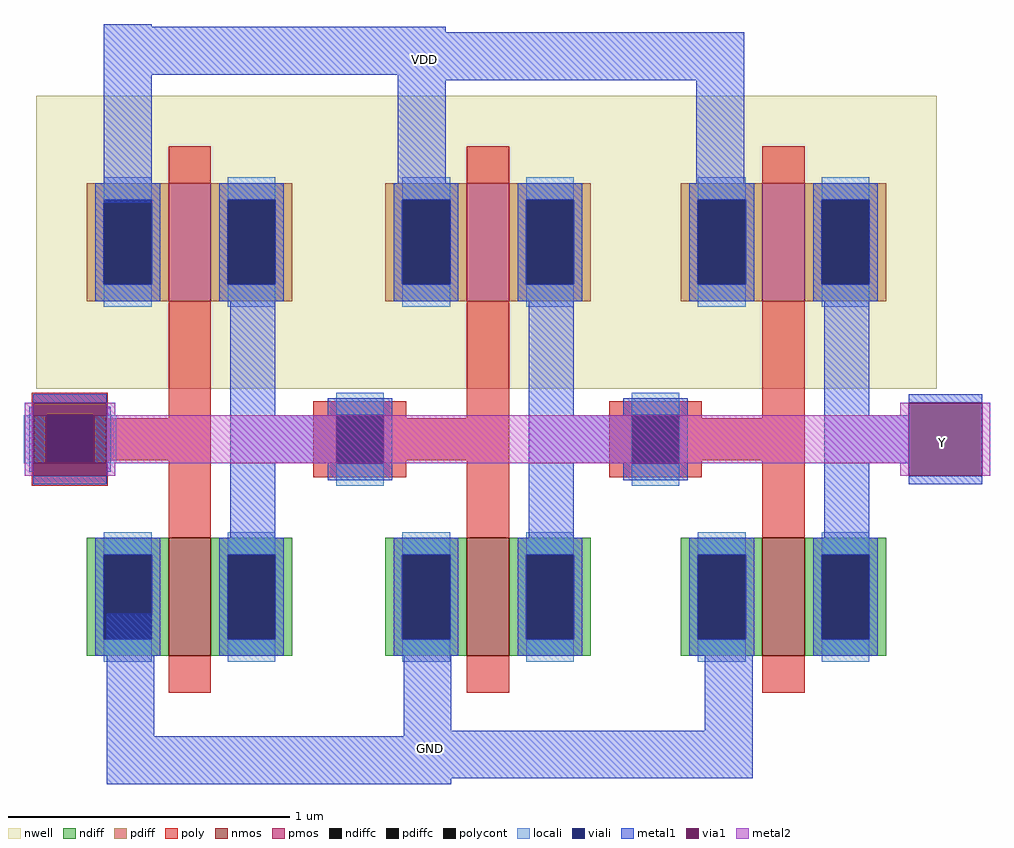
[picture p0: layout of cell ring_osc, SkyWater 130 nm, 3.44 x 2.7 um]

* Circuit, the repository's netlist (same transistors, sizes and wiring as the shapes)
.subckt ring_osc Y vdd gnd
XM1 net1 Y vdd vdd sky130_fd_pr__pfet_01v8 L=150e-9 W=420e-9 nf=2
XM2 net1 Y gnd gnd sky130_fd_pr__nfet_01v8 L=150e-9 W=420e-9 nf=2
XM3 net2 net1 vdd vdd sky130_fd_pr__pfet_01v8 L=150e-9 W=420e-9 nf=2
XM4 net2 net1 gnd gnd sky130_fd_pr__nfet_01v8 L=150e-9 W=420e-9 nf=2
XM5 Y net2 vdd vdd sky130_fd_pr__pfet_01v8 L=150e-9 W=420e-9 nf=2
XM6 Y net2 gnd gnd sky130_fd_pr__nfet_01v8 L=150e-9 W=420e-9 nf=2
.ends

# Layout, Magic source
magic
tech sky130A
magscale 1 2
<< nwell >>
rect 188 178 616 386
<< nmos >>
rect 282 -12 312 72
rect 492 -12 522 72
<< pmos >>
rect 282 240 312 324
rect 492 240 522 324
<< ndiff >>
rect 224 60 282 72
rect 224 0 236 60
rect 270 0 282 60
rect 224 -12 282 0
rect 312 60 370 72
rect 312 0 324 60
rect 358 0 370 60
rect 312 -12 370 0
rect 434 60 492 72
rect 434 0 446 60
rect 480 0 492 60
rect 434 -12 492 0
rect 522 60 580 72
rect 522 0 534 60
rect 568 0 580 60
rect 522 -12 580 0
<< pdiff >>
rect 224 312 282 324
rect 224 252 236 312
rect 270 252 282 312
rect 224 240 282 252
rect 312 312 370 324
rect 312 252 324 312
rect 358 252 370 312
rect 312 240 370 252
rect 434 312 492 324
rect 434 252 446 312
rect 480 252 492 312
rect 434 240 492 252
rect 522 312 580 324
rect 522 252 534 312
rect 568 252 580 312
rect 522 240 580 252
<< ndiffc >>
rect 236 0 270 60
rect 324 0 358 60
rect 446 0 480 60
rect 534 0 568 60
<< pdiffc >>
rect 236 252 270 312
rect 324 252 358 312
rect 446 252 480 312
rect 534 252 568 312
<< poly >>
rect 282 324 312 350
rect 492 324 522 350
rect -27 159 27 175
rect -27 125 -17 159
rect 17 157 27 159
rect 70 157 100 237
rect 17 127 100 157
rect 17 125 27 127
rect -27 109 27 125
rect 70 80 100 127
rect 173 159 239 169
rect 173 125 189 159
rect 223 157 239 159
rect 282 157 312 240
rect 223 127 312 157
rect 223 125 239 127
rect 173 115 239 125
rect 282 72 312 127
rect 383 159 449 169
rect 383 125 399 159
rect 433 157 449 159
rect 492 157 522 240
rect 433 127 522 157
rect 433 125 449 127
rect 383 115 449 125
rect 492 72 522 127
rect 282 -38 312 -12
rect 492 -38 522 -12
<< polycont >>
rect -17 125 17 159
rect 189 125 223 159
rect 399 125 433 159
<< locali >>
rect 236 312 270 328
rect 236 236 270 252
rect 324 312 358 328
rect 324 236 358 252
rect 446 312 480 328
rect 446 236 480 252
rect 534 312 568 328
rect 534 236 568 252
rect 189 159 223 175
rect -33 125 -17 159
rect 17 125 33 159
rect 189 109 223 125
rect 399 159 433 175
rect 399 109 433 125
rect 236 60 270 76
rect 236 -16 270 0
rect 324 60 358 76
rect 324 -16 358 0
rect 446 60 480 76
rect 446 -16 480 0
rect 534 60 568 76
rect 534 -16 568 0
<< viali >>
rect 236 252 270 312
rect 324 252 358 312
rect 446 252 480 312
rect 534 252 568 312
rect -17 125 17 159
rect 189 125 223 159
rect 399 125 433 159
rect 236 0 270 60
rect 324 0 358 60
rect 446 0 480 60
rect 534 0 568 60
<< metal1 >>
rect 24 435 58 437
rect 24 431 267 435
rect 24 401 479 431
rect 24 310 58 401
rect 233 397 479 401
rect 233 324 267 397
rect 445 324 479 397
rect 230 312 276 324
rect 230 252 236 312
rect 270 252 276 312
rect -26 168 26 174
rect -29 119 -26 165
rect 26 119 29 165
rect 114 159 146 252
rect 230 240 276 252
rect 318 312 364 324
rect 318 252 324 312
rect 358 252 364 312
rect 318 240 364 252
rect 440 312 486 324
rect 440 252 446 312
rect 480 252 486 312
rect 440 240 486 252
rect 528 312 574 324
rect 528 252 534 312
rect 568 252 574 312
rect 528 240 574 252
rect 183 159 229 171
rect 114 125 189 159
rect 223 125 229 159
rect -26 110 26 116
rect 114 66 146 125
rect 183 113 229 125
rect 326 159 358 240
rect 393 159 439 171
rect 326 125 399 159
rect 433 125 439 159
rect 326 72 358 125
rect 393 113 439 125
rect 536 159 568 240
rect 596 168 648 174
rect 536 125 596 159
rect 536 72 568 125
rect 596 110 648 116
rect 230 60 276 72
rect 26 -69 60 18
rect 230 0 236 60
rect 270 0 276 60
rect 230 -12 276 0
rect 318 60 364 72
rect 318 0 324 60
rect 358 0 364 60
rect 318 -12 364 0
rect 440 60 486 72
rect 440 0 446 60
rect 480 0 486 60
rect 440 -12 486 0
rect 528 60 574 72
rect 528 0 534 60
rect 568 0 574 60
rect 528 -12 574 0
rect 237 -65 271 -12
rect 451 -65 485 -12
rect 237 -69 485 -65
rect 26 -99 485 -69
rect 26 -103 271 -99
<< via1 >>
rect -26 159 26 168
rect -26 125 -17 159
rect -17 125 17 159
rect 17 125 26 159
rect -26 116 26 125
rect 596 116 648 168
<< metal2 >>
rect -32 116 -26 168
rect 26 159 32 168
rect 590 159 596 168
rect 26 125 596 159
rect 26 116 32 125
rect 590 116 596 125
rect 648 116 654 168
use sky130_fd_pr__nfet_01v8_KMMFGM  sky130_fd_pr__nfet_01v8_KMMFGM_0
transform 1 0 85 0 1 30
box -73 -68 73 68
use sky130_fd_pr__pfet_01v8_2ZVT9K  sky130_fd_pr__pfet_01v8_2ZVT9K_0
transform 1 0 85 0 1 282
box -109 -104 109 104
<< labels >>
flabel metal1 s 252 412 252 412 3 FreeSans 800 0 0 0 VDD
flabel metal2 s 620 140 620 140 3 FreeSans 800 0 0 0 Y
flabel metal1 s 256 -78 256 -78 3 FreeSans 800 0 0 0 GND
<< end >>

# cell sky130_fd_pr__nfet_01v8_KMMFGM: kit device sky130_fd_pr__nfet_01v8, w 0.420 l 0.150 m 1 nf 1 diffcov 100 polycov 100 guard 0 glc 1 grc 1 gtc 1 gbc 1 tbcov 100 rlcov 100 topc 0 botc 0 poverlap 0 doverlap 1 lmin 0.15 wmin 0.42 compatible {sky130_fd_pr__nfet_01v8 sky130_fd_pr__nfet_01v8_lvt sky130_fd_bs_flash__special_sonosfet_star sky130_fd_pr__nfet_g5v0d10v5 sky130_fd_pr__nfet_05v0_nvt sky130_fd_pr__nfet_03v3_nvt} full_metal 1 viasrc 100 viadrn 100 viagate 100 viagb 0 viagr 0 viagl 0 viagt 0

# cell sky130_fd_pr__pfet_01v8_2ZVT9K: kit device sky130_fd_pr__pfet_01v8, w 0.42 l 0.15 m 1 nf 1 diffcov 100 polycov 100 guard 0 glc 1 grc 1 gtc 1 gbc 1 tbcov 100 rlcov 100 topc 0 botc 0 poverlap 0 doverlap 1 lmin 0.15 wmin 0.42 compatible {sky130_fd_pr__pfet_01v8 sky130_fd_pr__pfet_01v8_lvt sky130_fd_pr__pfet_01v8_hvt sky130_fd_pr__pfet_g5v0d10v5} full_metal 1 viasrc 100 viadrn 100 viagate 100 viagb 0 viagr 0 viagl 0 viagt 0
